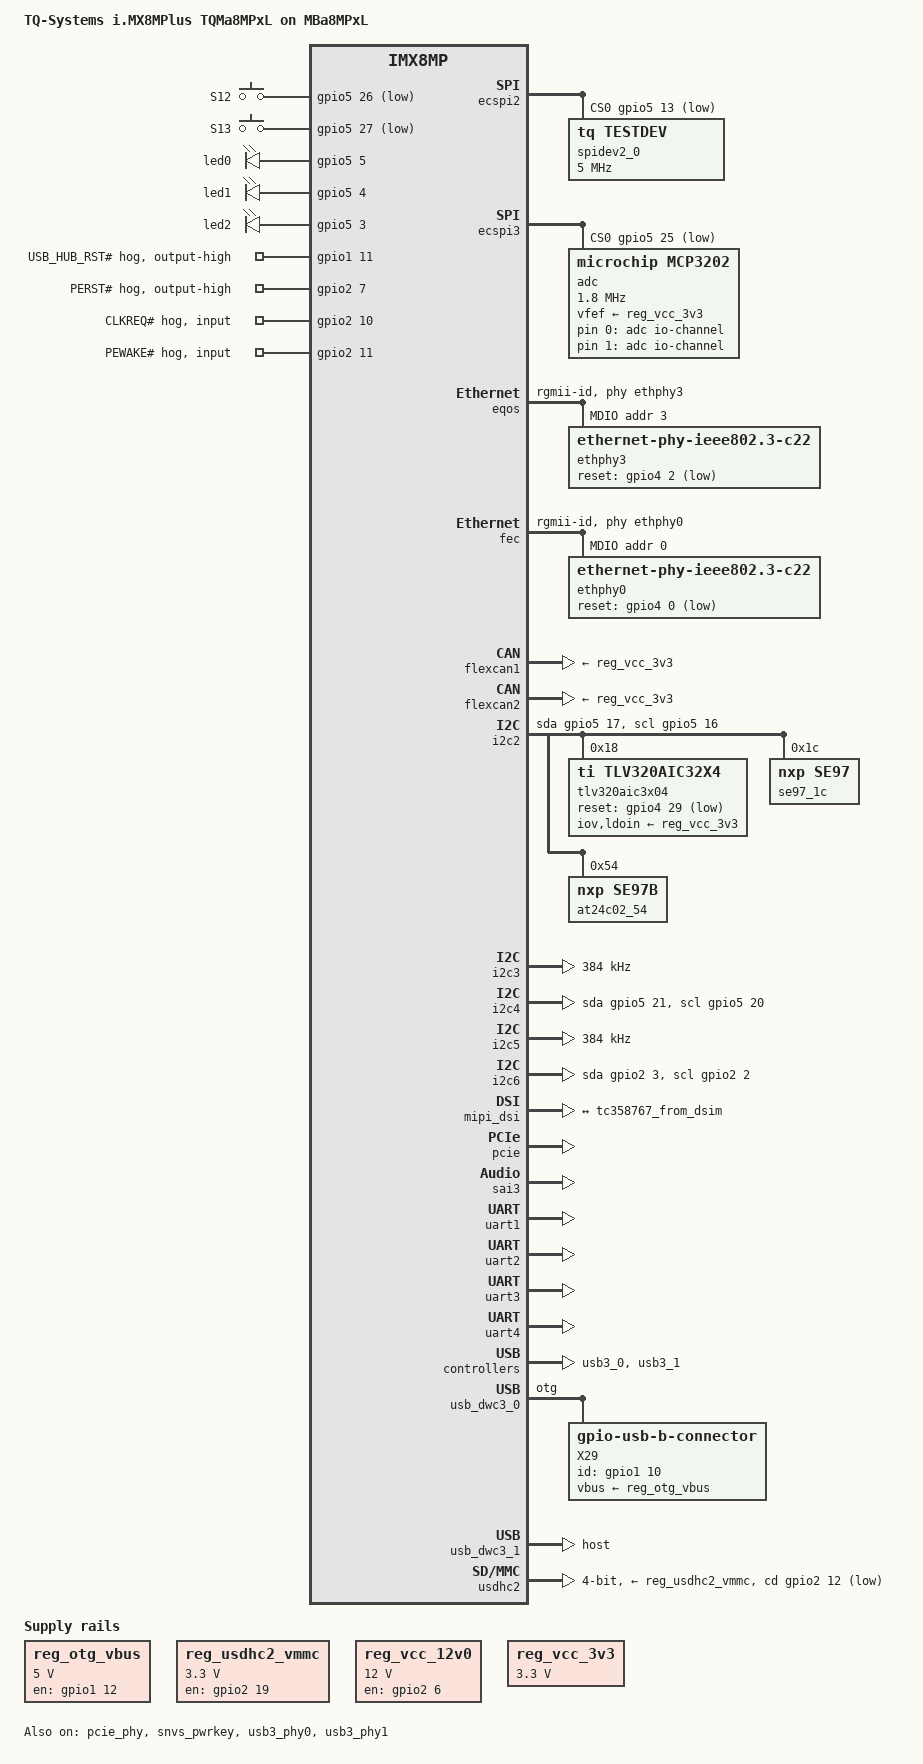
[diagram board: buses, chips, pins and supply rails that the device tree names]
// SPDX-License-Identifier: GPL-2.0-or-later OR MIT
/*
 * Copyright 2021 - 2022 TQ-Systems GmbH
 */

/dts-v1/;

#include <dt-bindings/net/ti-dp83867.h>
#include "imx8mp-tqma8mpql.dtsi"

/ {
	model = "TQ-Systems i.MX8MPlus TQMa8MPxL on MBa8MPxL";
	compatible = "tq,imx8mp-tqma8mpql-mba8mpxl", "tq,imx8mp-tqma8mpql", "fsl,imx8mp";

	aliases {
		mmc0 = &usdhc3;
		mmc1 = &usdhc2;
		mmc2 = &usdhc1;
		rtc0 = &pcf85063;
		rtc1 = &snvs_rtc;
	};

	chosen {
		bootargs = "console=ttymxc3,115200 earlycon=ec_imx6q,30a60000,115200";
		stdout-path = &uart4;
	};

	adc {
		compatible = "iio-hwmon";
		io-channels = <&adc 0>, <&adc 1>;
	};

	backlight_lvds: backlight-lvds {
		compatible = "pwm-backlight";
		pinctrl-names = "default";
		pinctrl-0 = <&pinctrl_bllvds>;
		pwms = <&pwm2 0 5000000 0>;
		power-supply = <&reg_vcc_12v0>;
		enable-gpios = <&gpio3 19 GPIO_ACTIVE_HIGH>;
		status = "disabled";
	};

	edp_refclk: edp-refclk {
		compatible = "fixed-clock";
		#clock-cells = <0>;
		clock-frequency = <26000000>;
		status = "disabled";
	};

	fan0: pwm-fan {
		compatible = "pwm-fan";
		#cooling-cells = <2>;
		pwms = <&pwm3 0 10000 0>;
		cooling-levels = <0 102 170 230>;
		status = "disabled";
	};

	gpio-keys {
		compatible = "gpio-keys";
		pinctrl-names = "default";
		pinctrl-0 = <&pinctrl_gpiobutton>;
		autorepeat;

		switch1 {
			label = "S12";
			linux,code = <BTN_0>;
			gpios = <&gpio5 26 GPIO_ACTIVE_LOW>;
			wakeup-source;
		};

		switch2 {
			label = "S13";
			linux,code = <BTN_1>;
			gpios = <&gpio5 27 GPIO_ACTIVE_LOW>;
			wakeup-source;
		};
	};

	gpio-leds {
		compatible = "gpio-leds";
		pinctrl-names = "default";
		pinctrl-0 = <&pinctrl_gpioled>;

		led0 {
			label = "led0";
			gpios = <&gpio5 5 GPIO_ACTIVE_HIGH>;
			linux,default-trigger = "default-on";
		};

		led1 {
			label = "led1";
			gpios = <&gpio5 4 GPIO_ACTIVE_HIGH>;
			linux,default-trigger = "heartbeat";
		};

		led2 {
			label = "led2";
			gpios = <&gpio5 3 GPIO_ACTIVE_HIGH>;
		};
	};

	lvds_panel: lvds-panel {
		pinctrl-names = "default";
		pinctrl-0 = <&pinctrl_lvdspanel>;
		enable-gpios = <&gpio3 20 GPIO_ACTIVE_HIGH>;
		backlight = <&backlight_lvds>;
		status = "disabled";

		port {
			panel_in_lvds0: endpoint {
				remote-endpoint = <&lvds_out>;
			};
		};
	};

	reg_otg_vbus: regulator-otg-vbus {
		compatible = "regulator-fixed";
		pinctrl-names = "default";
		pinctrl-0 = <&pinctrl_regotgvbus>;
		regulator-name = "OTG_VBUS";
		regulator-min-microvolt = <5000000>;
		regulator-max-microvolt = <5000000>;
		gpio = <&gpio1 12 GPIO_ACTIVE_HIGH>;
		enable-active-high;
	};

	reg_usdhc2_vmmc: regulator-usdhc2 {
		compatible = "regulator-fixed";
		pinctrl-names = "default";
		pinctrl-0 = <&pinctrl_reg_usdhc2_vmmc>;
		regulator-name = "VSD_3V3";
		regulator-min-microvolt = <3300000>;
		regulator-max-microvolt = <3300000>;
		gpio = <&gpio2 19 GPIO_ACTIVE_HIGH>;
		enable-active-high;
		startup-delay-us = <100>;
		off-on-delay-us = <12000>;
	};

	reg_vcc_12v0: regulator-12v0 {
		compatible = "regulator-fixed";
		pinctrl-names = "default";
		pinctrl-0 = <&pinctrl_reg12v0>;
		regulator-name = "VCC_12V0";
		regulator-min-microvolt = <12000000>;
		regulator-max-microvolt = <12000000>;
		gpio = <&gpio2 6 GPIO_ACTIVE_HIGH>;
		enable-active-high;
	};

	reg_vcc_3v3: regulator-3v3 {
		compatible = "regulator-fixed";
		regulator-name = "VCC_3V3";
		regulator-min-microvolt = <3300000>;
		regulator-max-microvolt = <3300000>;
	};

	reserved-memory {
		#address-cells = <2>;
		#size-cells = <2>;
		ranges;

		ocram: ocram@900000 {
			no-map;
			reg = <0 0x900000 0 0x70000>;
		};

/*
 *		Memory reserved for optee usage. Please do not use.
 *		This will be automatically added to dtb if OP-TEE is installed.
 *		optee@56000000 {
 *			reg = <0 0x56000000 0 0x2000000>;
 *			no-map;
 *		};
 */
		/* global autoconfigured region for contiguous allocations */
		linux,cma {
			compatible = "shared-dma-pool";
			reusable;
			size = <0 0x38000000>;
			alloc-ranges = <0 0x40000000 0 0xB0000000>;
			linux,cma-default;
		};
	};

	sound {
		compatible = "fsl,imx-audio-tlv320aic32x4";
		model = "tqm-tlv320aic32";
		ssi-controller = <&sai3>;
		audio-codec = <&tlv320aic3x04>;
	};

	thermal-zones {
		soc-thermal {
			cooling-maps {
				map0 {
					cooling-device =
						<&A53_0 THERMAL_NO_LIMIT THERMAL_NO_LIMIT>,
						<&A53_1 THERMAL_NO_LIMIT THERMAL_NO_LIMIT>,
						<&A53_2 THERMAL_NO_LIMIT THERMAL_NO_LIMIT>,
						<&A53_3 THERMAL_NO_LIMIT THERMAL_NO_LIMIT>,
						<&fan0 0 1>;
				};
			};
		};
	};
};

&clk {
	init-on-array = <IMX8MP_CLK_HSIO_ROOT>;
};

&easrc {
	fsl,asrc-rate  = <48000>;
	status = "disabled";
};

&ecspi2 {
	pinctrl-names = "default";
	pinctrl-0 = <&pinctrl_ecspi2>;
	cs-gpios = <&gpio5 13 GPIO_ACTIVE_LOW>;
	status = "okay";

	spidev2_0: spidev@0 {
		reg = <0>;
		compatible = "tq,testdev";
		spi-max-frequency = <5000000>;
	};
};

&ecspi3 {
	pinctrl-names = "default";
	pinctrl-0 = <&pinctrl_ecspi3>;
	cs-gpios = <&gpio5 25 GPIO_ACTIVE_LOW>;
	status = "okay";

	adc: adc@0 {
		reg = <0>;
		compatible = "microchip,mcp3202";
		/* 100 ksps * 18 */
		spi-max-frequency = <1800000>;
		vfef-supply = <&reg_vcc_3v3>;
		#io-channel-cells = <1>;
	};
};

&eqos {
	pinctrl-names = "default";
	pinctrl-0 = <&pinctrl_eqos>, <&pinctrl_eqos_phy>;
	phy-mode = "rgmii-id";
	phy-handle = <&ethphy3>;
	status = "okay";

	mdio {
		compatible = "snps,dwmac-mdio";
		#address-cells = <1>;
		#size-cells = <0>;

		ethphy3: ethernet-phy@3 {
			compatible = "ethernet-phy-ieee802.3-c22";
			reg = <3>;
			ti,rx-internal-delay = <DP83867_RGMIIDCTL_2_25_NS>;
			ti,tx-internal-delay = <DP83867_RGMIIDCTL_2_25_NS>;
			ti,fifo-depth = <DP83867_PHYCR_FIFO_DEPTH_4_B_NIB>;
			ti,dp83867-rxctrl-strap-quirk;
			ti,clk-output-sel = <DP83867_CLK_O_SEL_OFF>;
			reset-gpios = <&gpio4 2 GPIO_ACTIVE_LOW>;
			reset-assert-us = <500000>;
			reset-deassert-us = <50000>;
			enet-phy-lane-no-swap;
			/* LED0: Link, LED2: activity */
			ti,led-function = <0x0100>;
			/* LED0/2: active High, driven by phy function */
			ti,led-ctrl = <0x1414>;
		};
	};
};

&fec {
	pinctrl-names = "default";
	pinctrl-0 = <&pinctrl_fec>, <&pinctrl_fec_phy>;
	phy-mode = "rgmii-id";
	phy-handle = <&ethphy0>;
	fsl,magic-packet;
	status = "okay";

	mdio {
		#address-cells = <1>;
		#size-cells = <0>;

		ethphy0: ethernet-phy@0 {
			compatible = "ethernet-phy-ieee802.3-c22";
			reg = <0>;
			ti,rx-internal-delay = <DP83867_RGMIIDCTL_2_25_NS>;
			ti,tx-internal-delay = <DP83867_RGMIIDCTL_2_25_NS>;
			ti,fifo-depth = <DP83867_PHYCR_FIFO_DEPTH_4_B_NIB>;
			ti,dp83867-rxctrl-strap-quirk;
			ti,clk-output-sel = <DP83867_CLK_O_SEL_OFF>;
			reset-gpios = <&gpio4 0 GPIO_ACTIVE_LOW>;
			reset-assert-us = <500000>;
			reset-deassert-us = <50000>;
			enet-phy-lane-no-swap;
			/* LED0: Link, LED2: activity */
			ti,led-function = <0x0100>;
			/* LED0/2: active High, driven by phy function */
			ti,led-ctrl = <0x1414>;
		};
	};
};

&flexcan1 {
	pinctrl-names = "default";
	pinctrl-0 = <&pinctrl_flexcan1>;
	xceiver-supply = <&reg_vcc_3v3>;
	status = "okay";
};

&flexcan2 {
	pinctrl-names = "default";
	pinctrl-0 = <&pinctrl_flexcan2>;
	xceiver-supply = <&reg_vcc_3v3>;
	status = "okay";
};

&gpio1 {
	pinctrl-names = "default";
	pinctrl-0 = <&pinctrl_gpio1>, <&pinctrl_usbhub>;

	gpio-line-names = "GPO1", "GPO0", "", "GPO3",
			  "", "", "GPO2", "GPI0",
			  "PMIC_IRQ", "GPI1", "OTG_ID", "USB_HUB_RST#",
			  "OTG_PWR", "", "GPI2", "GPI3",
			  "", "", "", "",
			  "", "", "", "",
			  "", "", "", "",
			  "", "", "", "";

	usb-hub-reset {
		gpio-hog;
		gpios = <11 0>;
		output-high;
		line-name = "USB_HUB_RST#";
	};
};

&gpio2 {
	pinctrl-names = "default";
	pinctrl-0 = <&pinctrl_hoggpio2>;

	gpio-line-names = "", "", "", "",
			  "", "", "VCC12V_EN", "PERST#",
			  "", "", "", "",
			  "USDHC2_CD", "", "CLKREQ#", "PEWAKE#",
			  "", "", "", "V_SD3V3_EN",
			  "", "", "", "",
			  "", "", "", "",
			  "", "", "", "";

	perst {
		gpio-hog;
		gpios = <7 0>;
		output-high;
		line-name = "PERST#";
	};

	clkreq {
		gpio-hog;
		gpios = <10 0>;
		input;
		line-name = "CLKREQ#";
	};

	pewake {
		gpio-hog;
		gpios = <11 0>;
		input;
		line-name = "PEWAKE#";
	};
};

&gpio3 {
	gpio-line-names = "", "", "", "",
			  "", "", "", "",
			  "", "", "", "",
			  "", "", "LVDS0_RESET#", "",
			  "", "", "", "LVDS0_BLT_EN",
			  "LVDS0_PWR_EN", "", "", "",
			  "", "", "", "",
			  "", "", "", "";
};

&gpio4 {
	pinctrl-names = "default";
	pinctrl-0 = <&pinctrl_gpio4>;

	gpio-line-names = "ENET0_RST#", "ENET0_INT#", "ENET1_RST#", "ENET1_INT#",
			  "", "", "", "",
			  "", "", "", "",
			  "", "", "", "",
			  "", "", "DP_IRQ", "DSI_EN",
			  "HDMI_OC#", "TEMP_EVENT#", "PCIE_CLKREQ#", "",
			  "", "", "", "FAN_PWR",
			  "RTC_EVENT#", "CODEC_RST#", "", "";
};

&gpio5 {
	gpio-line-names = "", "", "", "LED2",
			  "LED1", "LED0", "CSI0_RESET#", "CSI0_SYNC",
			  "CSI0_TRIGGER", "CSI0_ENABLE", "", "",
			  "", "ECSPI2_SS0", "", "",
			  "", "", "", "",
			  "", "", "", "",
			  "", "ECSPI3_SS0", "SWITCH_A", "SWITCH_B",
			  "", "", "", "";
};

&i2c2 {
	pinctrl-names = "default", "gpio";
	pinctrl-0 = <&pinctrl_i2c2>;
	pinctrl-1 = <&pinctrl_i2c2_gpio>;
	scl-gpios = <&gpio5 16 (GPIO_ACTIVE_HIGH | GPIO_OPEN_DRAIN)>;
	sda-gpios = <&gpio5 17 (GPIO_ACTIVE_HIGH | GPIO_OPEN_DRAIN)>;
	status = "okay";

	dsi2dp: bridge@f {
		compatible = "toshiba,tc358767";
		pinctrl-names = "default";
		pinctrl-0 = <&pinctrl_edpbridge>;
		reg = <0xf>;
		reset-gpios = <&gpio4 19 GPIO_ACTIVE_LOW>;
		clock-names = "ref";
		clocks = <&edp_refclk>;
		toshiba,hpd-pin = <0>;

		interrupt-names = "irq";
		interrupt-parent = <&gpio4>;
		interrupts = <18 IRQ_TYPE_LEVEL_HIGH>;

		status = "disabled";

		ports {
			#address-cells = <1>;
			#size-cells = <0>;

			port@0 {
				reg = <0>;

				tc358767_from_dsim: endpoint {
					remote-endpoint = <&dsim_to_tc358767>;
				};
			};
		};
	};

	tlv320aic3x04: audio-codec@18 {
		compatible = "ti,tlv320aic32x4";
		pinctrl-names = "default";
		pinctrl-0 = <&pinctrl_tlv320aic3x04>;
		reg = <0x18>;
		clock-names = "mclk";
		clocks = <&audio_blk_ctrl IMX8MP_CLK_AUDIO_BLK_CTRL_SAI3_MCLK1>;
		iov-supply = <&reg_vcc_3v3>;
		ldoin-supply = <&reg_vcc_3v3>;
		reset-gpios = <&gpio4 29 GPIO_ACTIVE_LOW>;
	};

	/* NXP SE97BTP with temperature sensor + eeprom */
	se97_1c: temperature-sensor-eeprom@1c {
		compatible = "nxp,se97", "jedec,jc-42.4-temp";
		reg = <0x1c>;
	};

	at24c02_54: eeprom@54 {
		compatible = "nxp,se97b", "atmel,24c02";
		reg = <0x54>;
		pagesize = <16>;
	};
};


&i2c3 {
	/* Errata ERR007805: limit clk to <= 384000 Hz */
	clock-frequency = <384000>;
};

&i2c4 {
	pinctrl-names = "default", "gpio";
	pinctrl-0 = <&pinctrl_i2c4>;
	pinctrl-1 = <&pinctrl_i2c4_gpio>;
	scl-gpios = <&gpio5 20 (GPIO_ACTIVE_HIGH | GPIO_OPEN_DRAIN)>;
	sda-gpios = <&gpio5 21 (GPIO_ACTIVE_HIGH | GPIO_OPEN_DRAIN)>;
	status = "okay";
};

&i2c5 {
	/* Errata ERR007805: limit clk to <= 384000 Hz */
	clock-frequency = <384000>;
};

&i2c6 {
	pinctrl-names = "default", "gpio";
	pinctrl-0 = <&pinctrl_i2c6>;
	pinctrl-1 = <&pinctrl_i2c6_gpio>;
	scl-gpios = <&gpio2 2 (GPIO_ACTIVE_HIGH | GPIO_OPEN_DRAIN)>;
	sda-gpios = <&gpio2 3 (GPIO_ACTIVE_HIGH | GPIO_OPEN_DRAIN)>;
	status = "okay";
};

&ldb {
	lvds-channel@0 {
		port@1 {
			reg = <1>;

			lvds_out: endpoint {
				remote-endpoint = <&panel_in_lvds0>;
			};
		};
	};
};

&mipi_dsi {
	port@1 {
		dsim_to_tc358767: endpoint {
			remote-endpoint = <&tc358767_from_dsim>;
			attach-bridge;
		};
	};
};

&mipi_csi_0 {
	pinctrl-names = "default";
	pinctrl-0 = <&pinctrl_mipicsi0>;
	status = "disabled";
};

&mipi_csi_1 {
	pinctrl-names = "default";
	pinctrl-0 = <&pinctrl_mipicsi1>;
	status = "disabled";
};

&pcie{
/*
	reset-gpio = <&gpio2 7 GPIO_ACTIVE_LOW>;
	clkreq-gpio = <&gpio2 7 GPIO_ACTIVE_LOW>;
*/
	ext_osc = <1>;
	clocks = <&clk IMX8MP_CLK_HSIO_ROOT>,
		 <&clk IMX8MP_CLK_PCIE_AUX>,
		 <&clk IMX8MP_CLK_HSIO_AXI>,
		 <&clk IMX8MP_CLK_PCIE_ROOT>;
	clock-names = "pcie", "pcie_aux", "pcie_phy", "pcie_bus";
	assigned-clocks = <&clk IMX8MP_CLK_HSIO_AXI>,
			  <&clk IMX8MP_CLK_PCIE_AUX>;
	assigned-clock-rates = <500000000>, <10000000>;
	assigned-clock-parents = <&clk IMX8MP_SYS_PLL2_500M>,
				 <&clk IMX8MP_SYS_PLL2_50M>;
	l1ss-disabled;
	status = "okay";
};

&pcie_phy{
	ext_osc = <1>;
	status = "okay";
};

&pwm2 {
	pinctrl-names = "default";
	pinctrl-0 = <&pinctrl_pwm2>;
	status = "disabled";
};

&pwm3 {
	pinctrl-names = "default";
	pinctrl-0 = <&pinctrl_pwm3>;
	status = "disabled";
};

&sai3 {
	pinctrl-names = "default";
	pinctrl-0 = <&pinctrl_sai3>;

	assigned-clocks = <&clk IMX8MP_CLK_SAI3>;
	assigned-clock-parents = <&clk IMX8MP_AUDIO_PLL1_OUT>;
	assigned-clock-rates = <12288000>;
	clocks = <&audio_blk_ctrl IMX8MP_CLK_AUDIO_BLK_CTRL_SAI3_IPG>,
		 <&clk IMX8MP_CLK_DUMMY>,
		 <&audio_blk_ctrl IMX8MP_CLK_AUDIO_BLK_CTRL_SAI3_MCLK1>,
		 <&clk IMX8MP_CLK_DUMMY>,
		 <&clk IMX8MP_CLK_DUMMY>;
	clock-names = "bus", "mclk0", "mclk1", "mclk2", "mclk3";
	fsl,sai-mclk-direction-output;
	status = "okay";
};

&snvs_pwrkey {
	status = "okay";
};

&uart1 {
	pinctrl-names = "default";
	pinctrl-0 = <&pinctrl_uart1>;
	assigned-clocks = <&clk IMX8MP_CLK_UART1>;
	assigned-clock-parents = <&clk IMX8MP_SYS_PLL1_80M>;
	status = "okay";
};

&uart2 {
	pinctrl-names = "default";
	pinctrl-0 = <&pinctrl_uart2>;
	assigned-clocks = <&clk IMX8MP_CLK_UART2>;
	assigned-clock-parents = <&clk IMX8MP_SYS_PLL1_80M>;
	status = "okay";
};

&uart3 {
	pinctrl-names = "default";
	pinctrl-0 = <&pinctrl_uart3>;
	assigned-clocks = <&clk IMX8MP_CLK_UART3>;
	assigned-clock-parents = <&clk IMX8MP_SYS_PLL1_80M>;
	status = "okay";
};

&uart4 {
	/* console */
	pinctrl-names = "default";
	pinctrl-0 = <&pinctrl_uart4>;
	status = "okay";
};

&usb3_phy0 {
	pinctrl-names = "default";
	pinctrl-0 = <&pinctrl_usb0>;
	fsl,oc_low_active;
	status = "okay";
};

&usb3_0 {
	status = "okay";
};

&usb_dwc3_0 {
	/* we implement dual role but not full featured OTG */
	hnp-disable;
	srp-disable;
	adp-disable;
	dr_mode = "otg";
	usb-role-switch;
	role-switch-default-mode = "none";
	status = "okay";

	connector {
		compatible = "gpio-usb-b-connector", "usb-b-connector";
		type = "micro";
		label = "X29";
		pinctrl-names = "default";
		pinctrl-0 = <&pinctrl_usbcon0>;
		id-gpio = <&gpio1 10 GPIO_ACTIVE_HIGH>;
		vbus-supply = <&reg_otg_vbus>;
	};
};

&usb3_phy1 {
	fsl,disable-ppc;
	fsl,permanent_attached;
	status = "okay";
};

&usb3_1 {
	status = "okay";
};

&usb_dwc3_1 {
	dr_mode = "host";
	status = "okay";
};

&usdhc2 {
	pinctrl-names = "default", "state_100mhz", "state_200mhz";
	pinctrl-0 = <&pinctrl_usdhc2>, <&pinctrl_usdhc2_gpio>;
	pinctrl-1 = <&pinctrl_usdhc2_100mhz>, <&pinctrl_usdhc2_gpio>;
	pinctrl-2 = <&pinctrl_usdhc2_200mhz>, <&pinctrl_usdhc2_gpio>;
	cd-gpios = <&gpio2 12 GPIO_ACTIVE_LOW>;
	vmmc-supply = <&reg_usdhc2_vmmc>;
	no-mmc;
	no-sdio;
	disable-wp;
	bus-width = <4>;
	status = "okay";
};

&iomuxc {
	pinctrl_hoggpio2: hoggpio2grp {
		fsl,pins = <
			/* PERST0# X48 / M2 */
			MX8MP_IOMUXC_SD1_DATA5__GPIO2_IO07	0x140
			/* PCIe / M2 CLKREQ (alternative) */
			MX8MP_IOMUXC_SD1_RESET_B__GPIO2_IO10	0x140
			/* PCIe / M2 PEWAKE# (alternative) */
			MX8MP_IOMUXC_SD1_STROBE__GPIO2_IO11	0x140
		>;
	};

	pinctrl_bllvds: bllvdsgrp {
		fsl,pins = <
			MX8MP_IOMUXC_SAI5_RXFS__GPIO3_IO19	0x14
		>;
	};

	pinctrl_flexcan1: flexcan1grp {
		fsl,pins = <
			MX8MP_IOMUXC_SAI5_RXD1__CAN1_TX	0x150
			MX8MP_IOMUXC_SAI5_RXD2__CAN1_RX	0x150
		>;
	};

	pinctrl_flexcan2: flexcan2grp {
		fsl,pins = <
			MX8MP_IOMUXC_SAI5_RXD3__CAN2_TX	0x150
			MX8MP_IOMUXC_SAI5_MCLK__CAN2_RX	0x150
		>;
	};

	/* only on X57, primary used as CSI0 control signals */
	pinctrl_ecspi1: ecspi1grp {
		fsl,pins = <
			MX8MP_IOMUXC_ECSPI1_MISO__ECSPI1_MISO	0x1c0
			MX8MP_IOMUXC_ECSPI1_MOSI__ECSPI1_MOSI	0x1c0
			MX8MP_IOMUXC_ECSPI1_SCLK__ECSPI1_SCLK	0x1c0
			MX8MP_IOMUXC_ECSPI1_SS0__GPIO5_IO09	0x1c0
		>;
	};

	/* on X63 and optionally on X57, can also be used as CSI1 control signals */
	pinctrl_ecspi2: ecspi2grp {
		fsl,pins = <
			MX8MP_IOMUXC_ECSPI2_MISO__ECSPI2_MISO	0x1c0
			MX8MP_IOMUXC_ECSPI2_MOSI__ECSPI2_MOSI	0x1c0
			MX8MP_IOMUXC_ECSPI2_SCLK__ECSPI2_SCLK	0x1c0
			MX8MP_IOMUXC_ECSPI2_SS0__GPIO5_IO13	0x1c0
		>;
	};

	pinctrl_ecspi3: ecspi3grp {
		fsl,pins = <
			MX8MP_IOMUXC_UART1_TXD__ECSPI3_MOSI	0x1c0
			MX8MP_IOMUXC_UART1_RXD__ECSPI3_SCLK	0x1c0
			MX8MP_IOMUXC_UART2_RXD__ECSPI3_MISO	0x1c0
			MX8MP_IOMUXC_UART2_TXD__GPIO5_IO25	0x1c0
		>;
	};

	pinctrl_edpbridge: edpbridgegrp {
		fsl,pins = <
			MX8MP_IOMUXC_SAI1_TXD6__GPIO4_IO18	0x1c0
			MX8MP_IOMUXC_SAI1_TXD7__GPIO4_IO19	0x1c0
		>;
	};

	pinctrl_eqos: eqosgrp {
		fsl,pins = <
			/* SION + ODE + DSE_X2 */
			MX8MP_IOMUXC_ENET_MDC__ENET_QOS_MDC		0x40000044
			MX8MP_IOMUXC_ENET_MDIO__ENET_QOS_MDIO		0x40000044
			MX8MP_IOMUXC_ENET_RD0__ENET_QOS_RGMII_RD0	0x90
			MX8MP_IOMUXC_ENET_RD1__ENET_QOS_RGMII_RD1	0x90
			MX8MP_IOMUXC_ENET_RD2__ENET_QOS_RGMII_RD2	0x90
			MX8MP_IOMUXC_ENET_RD3__ENET_QOS_RGMII_RD3	0x90
			MX8MP_IOMUXC_ENET_RXC__CCM_ENET_QOS_CLOCK_GENERATE_RX_CLK	0x90
			MX8MP_IOMUXC_ENET_RX_CTL__ENET_QOS_RGMII_RX_CTL	0x90
			MX8MP_IOMUXC_ENET_TD0__ENET_QOS_RGMII_TD0	0x12
			MX8MP_IOMUXC_ENET_TD1__ENET_QOS_RGMII_TD1	0x12
			MX8MP_IOMUXC_ENET_TD2__ENET_QOS_RGMII_TD2	0x12
			MX8MP_IOMUXC_ENET_TD3__ENET_QOS_RGMII_TD3	0x12
			MX8MP_IOMUXC_ENET_TX_CTL__ENET_QOS_RGMII_TX_CTL	0x12
			MX8MP_IOMUXC_ENET_TXC__CCM_ENET_QOS_CLOCK_GENERATE_TX_CLK	0x14
		>;
	};

	pinctrl_eqos_phy: eqosphygrp {
		fsl,pins = <
			/* EVENT1_IN / RST# -> PE */
			MX8MP_IOMUXC_SAI1_RXD0__GPIO4_IO02		0x100
			/* EVENT1_OUT / INT/PD -> PE + HYS + PUE */
			MX8MP_IOMUXC_SAI1_RXD1__GPIO4_IO03		0x1c0
		>;
	};

	pinctrl_eqos_event: eqosevtgrp {
		fsl,pins = <
			MX8MP_IOMUXC_SAI2_RXD0__ENET_QOS_1588_EVENT2_OUT	0x100
			MX8MP_IOMUXC_SAI2_TXD0__ENET_QOS_1588_EVENT2_IN	0x1c0
		>;
	};

	pinctrl_fec: fecgrp {
		fsl,pins = <
			/* SION + ODE + DSE_X2 */
			MX8MP_IOMUXC_SAI1_RXD2__ENET1_MDC		0x40000044
			MX8MP_IOMUXC_SAI1_RXD3__ENET1_MDIO		0x40000044
			MX8MP_IOMUXC_SAI1_RXD4__ENET1_RGMII_RD0		0x90
			MX8MP_IOMUXC_SAI1_RXD5__ENET1_RGMII_RD1		0x90
			MX8MP_IOMUXC_SAI1_RXD6__ENET1_RGMII_RD2		0x90
			MX8MP_IOMUXC_SAI1_RXD7__ENET1_RGMII_RD3		0x90
			MX8MP_IOMUXC_SAI1_TXC__ENET1_RGMII_RXC		0x90
			MX8MP_IOMUXC_SAI1_TXFS__ENET1_RGMII_RX_CTL	0x90
			MX8MP_IOMUXC_SAI1_TXD0__ENET1_RGMII_TD0		0x12
			MX8MP_IOMUXC_SAI1_TXD1__ENET1_RGMII_TD1		0x12
			MX8MP_IOMUXC_SAI1_TXD2__ENET1_RGMII_TD2		0x12
			MX8MP_IOMUXC_SAI1_TXD3__ENET1_RGMII_TD3		0x12
			MX8MP_IOMUXC_SAI1_TXD4__ENET1_RGMII_TX_CTL	0x12
			MX8MP_IOMUXC_SAI1_TXD5__ENET1_RGMII_TXC		0x14
		>;
	};

	pinctrl_fec_event: fecevtgrp {
		fsl,pins = <
			MX8MP_IOMUXC_SAI1_RXFS__ENET1_1588_EVENT0_IN	0x100
			MX8MP_IOMUXC_SAI1_RXC__ENET1_1588_EVENT0_OUT	0x1c0
		>;
	};

	pinctrl_fec_phy: fecphygrp {
		fsl,pins = <
			/* EVENT0_IN / RST# -> PE */
			MX8MP_IOMUXC_SAI1_RXFS__GPIO4_IO00		0x100
			/* EVENT0_OUT / INT/PD -> PE + HYS + PUE */
			MX8MP_IOMUXC_SAI1_RXC__GPIO4_IO01		0x1c0
		>;
	};

	pinctrl_fec_phyalt: fecphyaltgrp {
		fsl,pins = <
			/* ENET1_INT#_ALT */
			MX8MP_IOMUXC_SAI2_TXFS__GPIO4_IO24	0x180
			/* ENET1_RST#_ALT */
			MX8MP_IOMUXC_SAI2_TXC__GPIO4_IO25	0x180
		>;
	};

	pinctrl_gpiobutton: gpiobuttongrp {
		fsl,pins = <
			MX8MP_IOMUXC_UART3_RXD__GPIO5_IO26	0x10
			MX8MP_IOMUXC_UART3_TXD__GPIO5_IO27	0x10
		>;
	};

	pinctrl_gpioled: gpioledgrp {
		fsl,pins = <
			MX8MP_IOMUXC_SPDIF_EXT_CLK__GPIO5_IO05	0x14
			MX8MP_IOMUXC_SPDIF_RX__GPIO5_IO04	0x14
			MX8MP_IOMUXC_SPDIF_TX__GPIO5_IO03	0x14
		>;
	};

	pinctrl_gpio1: gpio1grp {
		fsl,pins = <
			MX8MP_IOMUXC_GPIO1_IO00__GPIO1_IO00	0x10
			MX8MP_IOMUXC_GPIO1_IO01__GPIO1_IO01	0x10
			MX8MP_IOMUXC_GPIO1_IO03__GPIO1_IO03	0x10
			MX8MP_IOMUXC_GPIO1_IO06__GPIO1_IO06	0x10
			MX8MP_IOMUXC_GPIO1_IO07__GPIO1_IO07	0x80
			MX8MP_IOMUXC_GPIO1_IO09__GPIO1_IO09	0x80
			MX8MP_IOMUXC_GPIO1_IO14__GPIO1_IO14	0x80
			MX8MP_IOMUXC_GPIO1_IO15__GPIO1_IO15	0x80
		>;
	};

	pinctrl_gpio4: gpio4grp {
		fsl,pins = <
			/* ENET0_TX_CLK for MII, HDMI_OC on MBa8MPxL */
			MX8MP_IOMUXC_SAI1_MCLK__GPIO4_IO20	0x180
			/* TEMP_EVENT# on MBa8MPxL */
			MX8MP_IOMUXC_SAI2_RXFS__GPIO4_IO21	0x180
			/* PCIe CLK REQ / OE# */
			MX8MP_IOMUXC_SAI2_RXC__GPIO4_IO22	0x180
			/* FAN PWR */
			MX8MP_IOMUXC_SAI2_MCLK__GPIO4_IO27	0x180
			/* not used for CODEC on MBa8MPxL, RTC_EVENT# */
			MX8MP_IOMUXC_SAI3_RXFS__GPIO4_IO28	0x180
		>;
	};

	/* alternative usage for gpio button, X63 */
	pinctrl_gpt1: gpt1grp {
		fsl,pins = <
			MX8MP_IOMUXC_UART3_RXD__GPT1_CAPTURE2	0x14
			MX8MP_IOMUXC_UART3_TXD__GPT1_CLK	0x14
		>;
	};

	/* FAN RPM */
	pinctrl_gpt2: gpt2grp {
		fsl,pins = <
			MX8MP_IOMUXC_I2C3_SCL__GPT2_CLK		0x14
		>;
	};

	pinctrl_hdmi: hdmigrp {
		fsl,pins = <
			MX8MP_IOMUXC_HDMI_DDC_SCL__HDMIMIX_HDMI_SCL	0x400001c3
			MX8MP_IOMUXC_HDMI_DDC_SDA__HDMIMIX_HDMI_SDA	0x400001c3
			MX8MP_IOMUXC_HDMI_HPD__HDMIMIX_HDMI_HPD		0x40000019
			MX8MP_IOMUXC_HDMI_CEC__HDMIMIX_HDMI_CEC		0x40000019
		>;
	};

	pinctrl_i2c2: i2c2grp {
		fsl,pins = <
			MX8MP_IOMUXC_I2C2_SCL__I2C2_SCL		0x400001e2
			MX8MP_IOMUXC_I2C2_SDA__I2C2_SDA		0x400001e2
		>;
	};

	pinctrl_i2c2_gpio: i2c2-gpiogrp {
		fsl,pins = <
			MX8MP_IOMUXC_I2C2_SCL__GPIO5_IO16	0x400001e2
			MX8MP_IOMUXC_I2C2_SDA__GPIO5_IO17	0x400001e2
		>;
	};

	pinctrl_i2c4: i2c4grp {
		fsl,pins = <
			MX8MP_IOMUXC_I2C4_SCL__I2C4_SCL		0x400001e2
			MX8MP_IOMUXC_I2C4_SDA__I2C4_SDA		0x400001e2
		>;
	};

	pinctrl_i2c4_gpio: i2c4-gpiogrp {
		fsl,pins = <
			MX8MP_IOMUXC_I2C4_SCL__GPIO5_IO20	0x400001e2
			MX8MP_IOMUXC_I2C4_SDA__GPIO5_IO21	0x400001e2
		>;
	};

	pinctrl_i2c6: i2c6grp {
		fsl,pins = <
			MX8MP_IOMUXC_SD1_DATA0__I2C6_SCL	0x400001e2
			MX8MP_IOMUXC_SD1_DATA1__I2C6_SDA	0x400001e2
		>;
	};

	pinctrl_i2c6_gpio: i2c6-gpiogrp {
		fsl,pins = <
			MX8MP_IOMUXC_SD1_DATA0__GPIO2_IO02	0x400001e2
			MX8MP_IOMUXC_SD1_DATA1__GPIO2_IO03	0x400001e2
		>;
	};

	pinctrl_lvdspanel: lvdspanelgrp {
		fsl,pins = <
			MX8MP_IOMUXC_SAI5_RXC__GPIO3_IO20	0x14
		>;
	};

	pinctrl_mipicsi0: mipicsi0grp {
		fsl,pins = <
			/* TRIGGER */
			MX8MP_IOMUXC_ECSPI1_MISO__GPIO5_IO08	0x1c0
			/* SYNC */
			MX8MP_IOMUXC_ECSPI1_MOSI__GPIO5_IO07	0x1c0
			/* RESET# */
			MX8MP_IOMUXC_ECSPI1_SCLK__GPIO5_IO06	0x1c0
			/* ENABLE */
			MX8MP_IOMUXC_ECSPI1_SS0__GPIO5_IO09	0x1c0
		>;
	};

	/* ALTERNATIV */
	pinctrl_mipicsi1: mipicsi1grp {
		fsl,pins = <
			/* TRIGGER */
			MX8MP_IOMUXC_ECSPI2_MISO__GPIO5_IO12	0x1c0
			/* SYNC */
			MX8MP_IOMUXC_ECSPI2_MOSI__GPIO5_IO11	0x1c0
			/* RESET# */
			MX8MP_IOMUXC_ECSPI2_SCLK__GPIO5_IO10	0x1c0
			/* ENABLE */
			MX8MP_IOMUXC_ECSPI2_SS0__GPIO5_IO13	0x1c0
		>;
	};

	/* LVDS Backlight */
	pinctrl_pwm2: pwm2grp {
		fsl,pins = <
			MX8MP_IOMUXC_SAI5_RXD0__PWM2_OUT	0x14
		>;
	};

	/* FAN */
	pinctrl_pwm3: pwm3grp {
		fsl,pins = <
			MX8MP_IOMUXC_I2C3_SDA__PWM3_OUT		0x14
		>;
	};

	pinctrl_reg12v0: reg12v0grp {
		fsl,pins = <
			/* VCC12V enable */
			MX8MP_IOMUXC_SD1_DATA4__GPIO2_IO06	0x140
		>;
	};

	pinctrl_regotgvbus: reggotgvbusgrp {
		fsl,pins = <
			/* USB1 OTG PWR as GPIO */
			MX8MP_IOMUXC_GPIO1_IO12__GPIO1_IO12	0x100
		>;
	};

	/* RXC / RXFS not used on codec */
	pinctrl_sai3: sai3grp {
		fsl,pins = <
			MX8MP_IOMUXC_SAI3_MCLK__AUDIOMIX_SAI3_MCLK	0x94
			/* MX8MP_IOMUXC_SAI3_RXC__AUDIOMIX_SAI3_RX_BCLK	0x94 */
			/* MX8MP_IOMUXC_SAI3_RXFS__AUDIOMIX_SAI3_RX_SYNC	0x94 */
			MX8MP_IOMUXC_SAI3_RXD__AUDIOMIX_SAI3_RX_DATA00	0x94
			MX8MP_IOMUXC_SAI3_TXD__AUDIOMIX_SAI3_TX_DATA00	0x94
			MX8MP_IOMUXC_SAI3_TXFS__AUDIOMIX_SAI3_TX_SYNC	0x94
			MX8MP_IOMUXC_SAI3_TXC__AUDIOMIX_SAI3_TX_BCLK	0x94
		>;
	};

	pinctrl_tlv320aic3x04: tlv320aic3x04grp {
		fsl,pins = <
			/* CODEC RST# */
			MX8MP_IOMUXC_SAI3_RXC__GPIO4_IO29	0x180
		>;
	};

	/* X61 */
	pinctrl_uart1: uart1grp {
		fsl,pins = <
			MX8MP_IOMUXC_SD1_CLK__UART1_DCE_TX	0x140
			MX8MP_IOMUXC_SD1_CMD__UART1_DCE_RX	0x140
		>;
	};

	/* X61 */
	pinctrl_uart2: uart2grp {
		fsl,pins = <
			MX8MP_IOMUXC_SD1_DATA2__UART2_DCE_TX	0x140
			MX8MP_IOMUXC_SD1_DATA3__UART2_DCE_RX	0x140
		>;
	};

	pinctrl_uart3: uart3grp {
		fsl,pins = <
			MX8MP_IOMUXC_SD1_DATA6__UART3_DCE_TX	0x140
			MX8MP_IOMUXC_SD1_DATA7__UART3_DCE_RX	0x140
		>;
	};

	pinctrl_uart4: uart4grp {
		fsl,pins = <
			MX8MP_IOMUXC_UART4_RXD__UART4_DCE_RX	0x140
			MX8MP_IOMUXC_UART4_TXD__UART4_DCE_TX	0x140
		>;
	};

	pinctrl_usbcon0: usb0congrp {
		fsl,pins = <
			/* ID: floating / high: device, low: host -> use PU */
			MX8MP_IOMUXC_GPIO1_IO10__GPIO1_IO10	0x1c0
		>;
	};

	pinctrl_usb0: usb0grp {
		fsl,pins = <
			/* ID -> via usb-connector */
			/* PWR -> via regulator @phy */
			MX8MP_IOMUXC_GPIO1_IO13__USB1_OC	0x1C0
		>;
	};

	pinctrl_usbhub: usbhubgrp {
		fsl,pins = <
			MX8MP_IOMUXC_GPIO1_IO11__GPIO1_IO11	0x10
		>;
	};

	pinctrl_usdhc2: usdhc2grp {
		fsl,pins = <
			MX8MP_IOMUXC_SD2_CLK__USDHC2_CLK	0x192
			MX8MP_IOMUXC_SD2_CMD__USDHC2_CMD	0x1d2
			MX8MP_IOMUXC_SD2_DATA0__USDHC2_DATA0	0x1d2
			MX8MP_IOMUXC_SD2_DATA1__USDHC2_DATA1	0x1d2
			MX8MP_IOMUXC_SD2_DATA2__USDHC2_DATA2	0x1d2
			MX8MP_IOMUXC_SD2_DATA3__USDHC2_DATA3	0x1d2
			MX8MP_IOMUXC_GPIO1_IO04__USDHC2_VSELECT	0xc0
		>;
	};

	pinctrl_usdhc2_100mhz: usdhc2-100mhzgrp {
		fsl,pins = <
			MX8MP_IOMUXC_SD2_CLK__USDHC2_CLK	0x194
			MX8MP_IOMUXC_SD2_CMD__USDHC2_CMD	0x1d4
			MX8MP_IOMUXC_SD2_DATA0__USDHC2_DATA0	0x1d4
			MX8MP_IOMUXC_SD2_DATA1__USDHC2_DATA1	0x1d4
			MX8MP_IOMUXC_SD2_DATA2__USDHC2_DATA2	0x1d4
			MX8MP_IOMUXC_SD2_DATA3__USDHC2_DATA3	0x1d4
			MX8MP_IOMUXC_GPIO1_IO04__USDHC2_VSELECT 0xc0
		>;
	};

	pinctrl_usdhc2_200mhz: usdhc2-200mhzgrp {
		fsl,pins = <
			MX8MP_IOMUXC_SD2_CLK__USDHC2_CLK	0x194
			MX8MP_IOMUXC_SD2_CMD__USDHC2_CMD	0x1d4
			MX8MP_IOMUXC_SD2_DATA0__USDHC2_DATA0	0x1d4
			MX8MP_IOMUXC_SD2_DATA1__USDHC2_DATA1	0x1d4
			MX8MP_IOMUXC_SD2_DATA2__USDHC2_DATA2	0x1d4
			MX8MP_IOMUXC_SD2_DATA3__USDHC2_DATA3	0x1d4
			MX8MP_IOMUXC_GPIO1_IO04__USDHC2_VSELECT 0xc0
		>;
	};

	pinctrl_usdhc2_gpio: usdhc2-gpiogrp {
		fsl,pins = <
			MX8MP_IOMUXC_SD2_CD_B__GPIO2_IO12	0x1c0
		>;
	};
};
